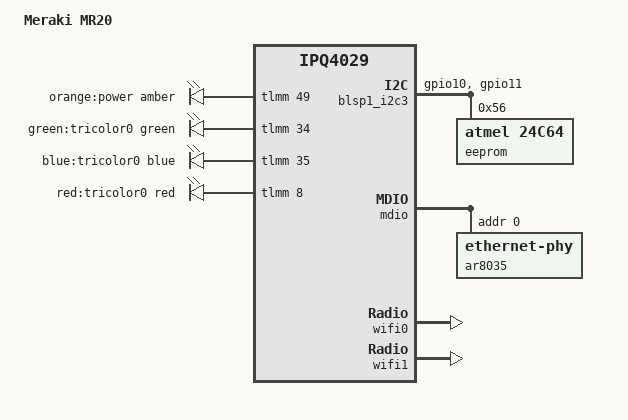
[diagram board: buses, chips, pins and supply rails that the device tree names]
// SPDX-License-Identifier: GPL-2.0-only
/*
 * Device Tree Source for Meraki MR20 (Grub) / Go GR10 (Maggot)
 *
 * Copyright (C) 2025 Hal Martin <halmartin@googlemail.com>
 *
 */

#include "qcom-ipq4029-insect-common.dtsi"

/ {
	model = "Meraki MR20";
	compatible = "meraki,mr20";

	aliases {
		led-boot = &status_green;
		led-failsafe = &status_red;
		led-running = &status_green;
		led-upgrade = &power_orange;
	};

	leds {
		compatible = "gpio-leds";

		power_orange: power {
			color = <LED_COLOR_ID_AMBER>;
			function = LED_FUNCTION_POWER;
			label = "orange:power";
			gpios = <&tlmm 49 GPIO_ACTIVE_HIGH>;
			panic-indicator;
		};

		status_green: led_green {
			color = <LED_COLOR_ID_GREEN>;
			label = "green:tricolor0";
			gpios = <&tlmm 34 GPIO_ACTIVE_HIGH>;
		};

		status_blue: led_blue {
			color = <LED_COLOR_ID_BLUE>;
			label = "blue:tricolor0";
			gpios = <&tlmm 35 GPIO_ACTIVE_HIGH>;
		};

		status_red: led_red {
			color = <LED_COLOR_ID_RED>;
			label = "red:tricolor0";
			gpios = <&tlmm 8 GPIO_ACTIVE_HIGH>;
		};

	};
};

&tlmm {
	i2c_0_pins: i2c_0_pinmux {
		function = "blsp_i2c0";
		pins = "gpio10", "gpio11";
		drive-strength = <16>;
		bias-disable;
	};
};

&blsp1_i2c3 {
	pinctrl-0 = <&i2c_0_pins>;
	pinctrl-names = "default";
	status = "okay";

	/delete-node/ eeprom@50;
	eeprom@56 {
		compatible = "atmel,24c64";
		pagesize = <32>;
		reg = <0x56>;
		read-only; /* This holds our MAC & Meraki board-data */

		nvmem-layout {
			compatible = "fixed-layout";
			#address-cells = <1>;
			#size-cells = <1>;

			mac_address: mac-address@66 {
				compatible = "mac-base";
				reg = <0x66 0x6>;
				#nvmem-cell-cells = <1>;
			};
		};
	};
};

&blsp1_i2c4 {
	pinctrl-0 = <&i2c_1_pins>;
	pinctrl-names = "default";
	status = "disabled";
	/delete-node/ led-controller@30;
};

&pcie0 {
	status = "disabled";
};

&mdio {
	status = "okay";
	pinctrl-0 = <&mdio_pins>;
	pinctrl-names = "default";

	/delete-node/ ethernet-phy@1;
	ar8035: ethernet-phy@0 {
		reg = <0>;
	};
};

&swport5 {
	phy-mode = "rgmii-id";
};

&wifi0 {
	status = "okay";
	qcom,ath10k-calibration-variant = "Meraki-underdog";
	nvmem-cells = <&precal_factory_1000>;
	nvmem-cell-names = "pre-calibration";
};

&wifi1 {
	status = "okay";
	qcom,ath10k-calibration-variant = "Meraki-underdog";
	nvmem-cells = <&precal_factory_5000>;
	nvmem-cell-names = "pre-calibration";
};
